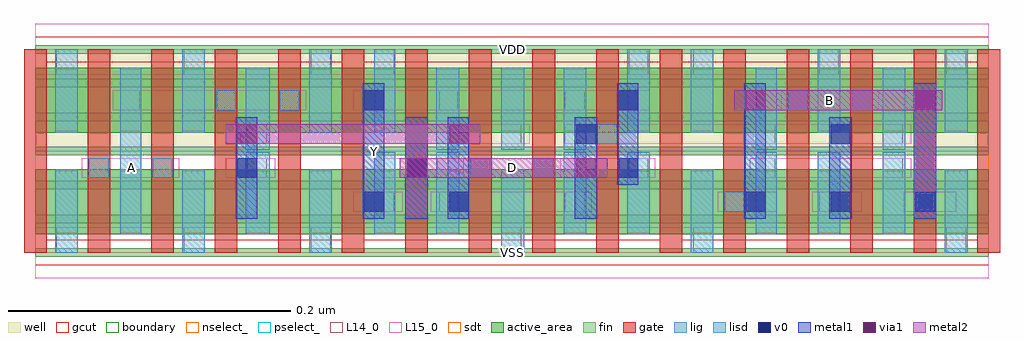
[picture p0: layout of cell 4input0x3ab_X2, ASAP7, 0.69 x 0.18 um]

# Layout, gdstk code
import gdstk
lib = gdstk.Library(unit=1e-6, precision=1e-09)
def R(c, l, rs):  # rectangles x0, y0, x1, y1
    for r in rs: c.add(gdstk.rectangle(r[:2], r[2:], *l))
def A(c, l, x, y, w, h, nx, ny, dx, dy):  # array of equal rectangles
    R(c, l, [(x+i*dx, y+j*dy, x+i*dx+w, y+j*dy+h) for i in range(nx) for j in range(ny)])
def P(c, l, *ps):  # polygons
    for p in ps: c.add(gdstk.Polygon(p, *l))
well = (1, 0)
fin = (2, 0)
gate = (7, 0)
gcut = (10, 0)
active_area = (11, 0)
nselect_ = (12, 0)
pselect_ = (13, 0)
L14_0 = (14, 0)
L15_0 = (15, 0)
lig = (16, 0)
lisd = (17, 0)
v0 = (18, 0)
metal1 = (19, 0)
metal2 = (20, 0)
via1 = (21, 0)
sdt = (88, 0)
boundary = (100, 0)

c_4input0x3ab_x2 = lib.new_cell('4input0x3ab_X2')
R(c_4input0x3ab_x2, well, [(0,0.072,0.675,0.144)])
A(c_4input0x3ab_x2, fin, 0, -0.003, 0.675, 0.006, 1, 7, 0, 0.024)
A(c_4input0x3ab_x2, gate, -0.008, 0, 0.016, 0.144, 16, 1, 0.045, 0)
P(c_4input0x3ab_x2, gcut, [(0,-0.009),(0,0),(-0.008,0),(-0.008,0.135),(0.008,0.135),(0.008,0.009),(0.217,0.009),(0.217,0.135),(0.233,0.135),(0.233,0.009),(0.442,0.009),(0.442,0.135),(0.458,0.135),(0.458,0.009),(0.667,0.009),(0.667,0.135),(-0.008,0.135),(-0.008,0.144),(0,0.144),(0,0.153),(0.675,0.153),(0.675,0.144),(0.683,0.144),(0.683,0),(0.675,0),(0.675,-0.009)])
R(c_4input0x3ab_x2, active_area, [(0,0.013,0.675,0.059), (0,0.085,0.675,0.131)])
R(c_4input0x3ab_x2, nselect_, [(0,0,0.675,0.072)])
R(c_4input0x3ab_x2, pselect_, [(0,0.072,0.675,0.144)])
A(c_4input0x3ab_x2, L14_0, 0.263, 0.053, 0.014, 0.014, 3, 1, 0.045, 0)
A(c_4input0x3ab_x2, L14_0, 0.42, 0.053, 0.014, 0.014, 3, 1, 0.09, 0)
R(c_4input0x3ab_x2, L14_0, [(0.015,0,0.03,0.018), (0.105,0,0.12,0.018), (0.195,0,0.209,0.018), (0.33,0,0.344,0.018), (0.466,0,0.48,0.018), (0.645,0,0.659,0.018), (0.24,0.029,0.254,0.043), (0.286,0.029,0.299,0.043), (0.375,0.029,0.389,0.043), (0.488,0.029,0.502,0.043), (0.555,0.029,0.569,0.043), (0.623,0.029,0.637,0.043), (0.038,0.053,0.052,0.067), (0.083,0.053,0.097,0.067), (0.15,0.053,0.164,0.067), (0.15,0.077,0.164,0.091), (0.33,0.077,0.344,0.091), (0.398,0.077,0.412,0.091), (0.51,0.077,0.524,0.091), (0.6,0.077,0.614,0.091), (0.06,0.101,0.074,0.115), (0.128,0.101,0.142,0.115), (0.173,0.101,0.187,0.115), (0.286,0.101,0.299,0.115), (0.375,0.101,0.389,0.115), (0.533,0.101,0.547,0.115), (0.578,0.101,0.592,0.115), (0.015,0.126,0.03,0.144), (0.105,0.126,0.12,0.144), (0.195,0.126,0.209,0.144), (0.24,0.126,0.254,0.144), (0.42,0.126,0.434,0.144), (0.466,0.126,0.48,0.144), (0.555,0.126,0.569,0.144), (0.645,0.126,0.659,0.144)])
R(c_4input0x3ab_x2, L15_0, [(0,-0.018,0.675,0.018), (0.225,0.029,0.26,0.043), (0.28,0.029,0.394,0.043), (0.483,0.029,0.525,0.043), (0.55,0.029,0.585,0.043), (0.615,0.029,0.652,0.043), (0.033,0.053,0.102,0.067), (0.135,0.053,0.17,0.067), (0.247,0.053,0.285,0.067), (0.303,0.053,0.372,0.067), (0.405,0.053,0.439,0.067), (0.506,0.053,0.62,0.067), (0.145,0.077,0.35,0.091), (0.375,0.077,0.62,0.091), (0.055,0.101,0.192,0.115), (0.225,0.101,0.435,0.115), (0.528,0.101,0.597,0.115), (0,0.126,0.675,0.162)])
A(c_4input0x3ab_x2, lig, 0.263, 0.053, 0.014, 0.014, 3, 1, 0.045, 0)
R(c_4input0x3ab_x2, lig, [(0.488,0.029,0.502,0.043), (0.623,0.029,0.637,0.043), (0.038,0.053,0.052,0.067), (0.083,0.053,0.097,0.067), (0.398,0.077,0.412,0.091), (0.128,0.101,0.142,0.115), (0.173,0.101,0.187,0.115), (0.533,0.101,0.547,0.115), (0.578,0.101,0.592,0.115)])
A(c_4input0x3ab_x2, lisd, 0.014, 0, 0.016, 0.059, 3, 2, 0.09, 0.085)
A(c_4input0x3ab_x2, lisd, 0.464, 0.085, 0.016, 0.059, 3, 1, 0.09, 0)
R(c_4input0x3ab_x2, lisd, [(0.33,0,0.346,0.059), (0.464,0,0.48,0.059), (0.644,0,0.66,0.059), (0.06,0.013,0.075,0.131), (0.149,0.013,0.166,0.071), (0.24,0.013,0.255,0.071), (0.284,0.013,0.3,0.071), (0.374,0.013,0.39,0.071), (0.419,0.013,0.435,0.071), (0.51,0.013,0.525,0.071), (0.554,0.013,0.57,0.071), (0.6,0.013,0.616,0.071), (0.149,0.073,0.166,0.131), (0.284,0.073,0.3,0.131), (0.33,0.073,0.346,0.131), (0.374,0.073,0.39,0.131), (0.51,0.073,0.525,0.131), (0.6,0.073,0.616,0.131), (0.24,0.085,0.255,0.144), (0.419,0.085,0.435,0.144)])
A(c_4input0x3ab_x2, v0, 0.503, 0.029, 0.014, 0.014, 3, 1, 0.06, 0)
R(c_4input0x3ab_x2, v0, [(0.233,0.029,0.247,0.043), (0.293,0.029,0.307,0.043), (0.143,0.053,0.157,0.067), (0.263,0.053,0.277,0.067), (0.413,0.053,0.427,0.067), (0.383,0.077,0.397,0.091), (0.563,0.077,0.577,0.091), (0.233,0.101,0.247,0.115), (0.413,0.101,0.427,0.115)])
R(c_4input0x3ab_x2, metal1, [(0.142,0.024,0.157,0.096), (0.232,0.024,0.247,0.12), (0.262,0.024,0.278,0.096), (0.292,0.024,0.307,0.096), (0.382,0.024,0.398,0.096), (0.502,0.024,0.517,0.12), (0.562,0.024,0.578,0.096), (0.622,0.024,0.638,0.12), (0.412,0.048,0.427,0.12)])
R(c_4input0x3ab_x2, metal2, [(0.258,0.053,0.405,0.067), (0.135,0.077,0.315,0.091), (0.495,0.101,0.642,0.115)])
R(c_4input0x3ab_x2, via1, [(0.263,0.053,0.277,0.067), (0.383,0.053,0.397,0.067), (0.143,0.077,0.157,0.091), (0.293,0.077,0.307,0.091), (0.503,0.101,0.517,0.115), (0.623,0.101,0.637,0.115)])
A(c_4input0x3ab_x2, sdt, 0.014, 0.014, 0.016, 0.044, 4, 2, 0.09, 0.072)
A(c_4input0x3ab_x2, sdt, 0.374, 0.014, 0.016, 0.044, 3, 2, 0.045, 0.072)
R(c_4input0x3ab_x2, sdt, [(0.06,0.014,0.075,0.058), (0.149,0.014,0.166,0.058), (0.24,0.014,0.255,0.058), (0.33,0.014,0.346,0.058), (0.51,0.014,0.525,0.058), (0.554,0.014,0.57,0.058), (0.6,0.014,0.616,0.058), (0.644,0.014,0.66,0.058), (0.06,0.086,0.075,0.13), (0.149,0.086,0.166,0.13), (0.24,0.086,0.255,0.13), (0.33,0.086,0.346,0.13), (0.51,0.086,0.525,0.13), (0.554,0.086,0.57,0.13), (0.6,0.086,0.616,0.13), (0.644,0.086,0.66,0.13)])
R(c_4input0x3ab_x2, boundary, [(0,0,0.675,0.144)])
c_4input0x3ab_x2.add(gdstk.Label('B', (0.562,0.108), layer=15, texttype=251))
c_4input0x3ab_x2.add(gdstk.Label('VSS', (0.338,0), layer=15, texttype=251))
c_4input0x3ab_x2.add(gdstk.Label('VDD', (0.338,0.144), layer=15, texttype=251))
c_4input0x3ab_x2.add(gdstk.Label('VSS', (0.338,0), layer=15, texttype=251))
c_4input0x3ab_x2.add(gdstk.Label('VDD', (0.338,0.144), layer=15, texttype=251))
c_4input0x3ab_x2.add(gdstk.Label('A', (0.068,0.06), layer=15, texttype=251))
c_4input0x3ab_x2.add(gdstk.Label('VSS', (0.338,0), layer=15, texttype=251))
c_4input0x3ab_x2.add(gdstk.Label('VDD', (0.338,0.144), layer=15, texttype=251))
c_4input0x3ab_x2.add(gdstk.Label('VSS', (0.338,0), layer=15, texttype=251))
c_4input0x3ab_x2.add(gdstk.Label('VDD', (0.338,0.144), layer=15, texttype=251))
c_4input0x3ab_x2.add(gdstk.Label('D', (0.338,0.06), layer=15, texttype=251))
c_4input0x3ab_x2.add(gdstk.Label('VSS', (0.338,0), layer=15, texttype=251))
c_4input0x3ab_x2.add(gdstk.Label('VDD', (0.338,0.144), layer=15, texttype=251))
c_4input0x3ab_x2.add(gdstk.Label('VSS', (0.338,0), layer=3, texttype=251))
c_4input0x3ab_x2.add(gdstk.Label('VSS', (0.338,0), layer=3, texttype=251))
c_4input0x3ab_x2.add(gdstk.Label('VSS', (0.338,0), layer=3, texttype=251))
c_4input0x3ab_x2.add(gdstk.Label('VSS', (0.338,0), layer=3, texttype=251))
c_4input0x3ab_x2.add(gdstk.Label('VSS', (0.338,0), layer=3, texttype=251))
c_4input0x3ab_x2.add(gdstk.Label('VDD', (0.338,0.144), layer=1, texttype=251))
c_4input0x3ab_x2.add(gdstk.Label('VDD', (0.338,0.144), layer=1, texttype=251))
c_4input0x3ab_x2.add(gdstk.Label('VDD', (0.338,0.144), layer=1, texttype=251))
c_4input0x3ab_x2.add(gdstk.Label('VDD', (0.338,0.144), layer=1, texttype=251))
c_4input0x3ab_x2.add(gdstk.Label('VDD', (0.338,0.144), layer=1, texttype=251))
c_4input0x3ab_x2.add(gdstk.Label('C', (0.562,0.108), layer=20, texttype=251))
c_4input0x3ab_x2.add(gdstk.Label('Y', (0.24,0.072), layer=19, texttype=251))

lib.write_gds('4input0x3ab_X2.gds')
